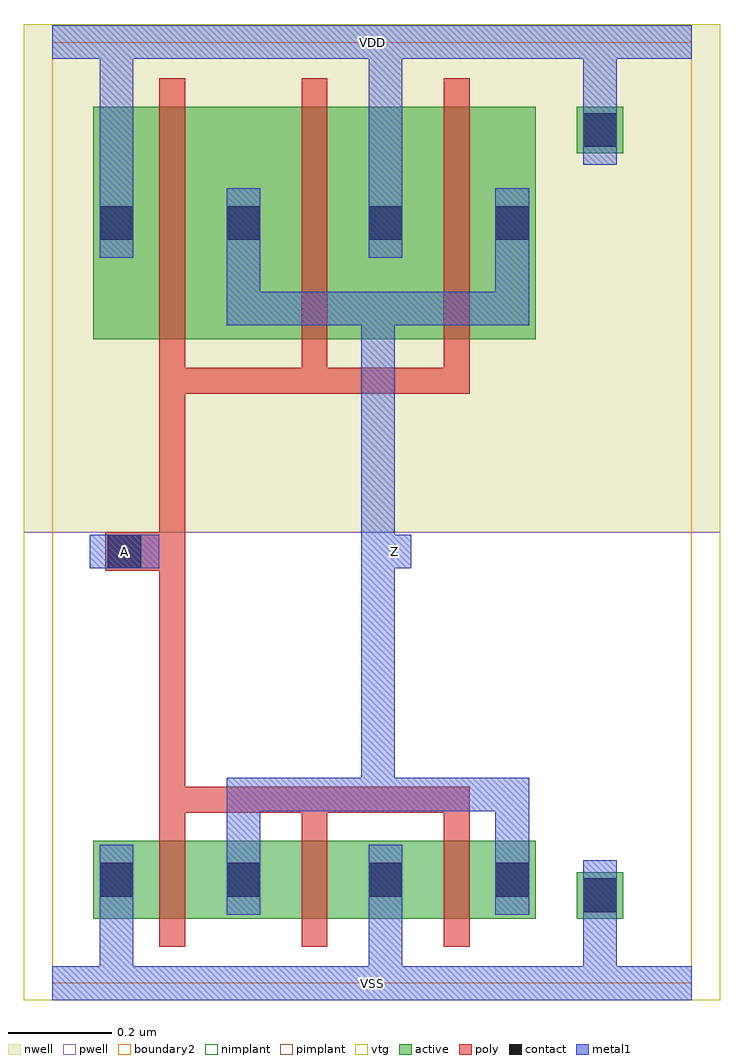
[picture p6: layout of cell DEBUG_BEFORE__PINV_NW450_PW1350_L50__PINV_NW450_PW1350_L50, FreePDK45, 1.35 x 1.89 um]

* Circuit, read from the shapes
.subckt DEBUG_BEFORE__PINV_NW450_PW1350_L50__PINV_NW450_PW1350_L50 A VDD VSS Z
M1 Z A VSS VSS nfet w=0.15u l=0.05u m=3
M2 Z A VDD VDD pfet w=0.45u l=0.05u m=3
.ends

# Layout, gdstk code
import gdstk
lib = gdstk.Library(unit=1e-6, precision=5e-10)
def R(c, l, rs):  # rectangles x0, y0, x1, y1
    for r in rs: c.add(gdstk.rectangle(r[:2], r[2:], *l))
def A(c, l, x, y, w, h, nx, ny, dx, dy):  # array of equal rectangles
    R(c, l, [(x+i*dx, y+j*dy, x+i*dx+w, y+j*dy+h) for i in range(nx) for j in range(ny)])
active = (1, 0)
pwell = (2, 0)
nwell = (3, 0)
nimplant = (4, 0)
pimplant = (5, 0)
vtg = (6, 0)
poly = (9, 0)
contact = (10, 0)
metal1 = (11, 0)
boundary2 = (239, 0)

debug_before__pinv_nw450 = lib.new_cell('DEBUG_BEFORE__PINV_NW450_PW1350_L50__TRANSMISSION_GATE_NW250_PW500_L50_contact_8')
R(debug_before__pinv_nw450, active, [(0,0.0225,0.09,0.1125)])
R(debug_before__pinv_nw450, nwell, [(-0.055,-0.0325,0.145,0.1675)])
R(debug_before__pinv_nw450, pimplant, [(0,0.0225,0.09,0.1125)])
R(debug_before__pinv_nw450, contact, [(0.0125,0.035,0.0775,0.1)])
R(debug_before__pinv_nw450, metal1, [(0.0125,0,0.0775,0.135)])
R(debug_before__pinv_nw450, boundary2, [(-0.055,-0.0325,0.145,0.1675)])

c_debug_before__pinv_nw450 = lib.new_cell('DEBUG_BEFORE__PINV_NW450_PW1350_L50__PINV_NW450_PW1350_L50_pmos_m3_w0_450_sm1_dm1_da_p')
R(c_debug_before__pinv_nw450, active, [(0,0,0.855,0.45)])
R(c_debug_before__pinv_nw450, nwell, [(-0.08,-0.08,0.935,0.53)])
R(c_debug_before__pinv_nw450, pimplant, [(0,0,0.855,0.45)])
R(c_debug_before__pinv_nw450, vtg, [(-0.08,-0.08,0.935,0.53)])
A(c_debug_before__pinv_nw450, poly, 0.1275, -0.055, 0.05, 0.56, 3, 1, 0.275, 0)
R(c_debug_before__pinv_nw450, poly, [(0.1275,-0.105,0.7275,-0.055)])
R(c_debug_before__pinv_nw450, metal1, [(0.2575,0.0275,0.8425,0.0925), (0.2575,0.06,0.3225,0.225), (0.7775,0.06,0.8425,0.225), (0.0125,0.1575,0.0775,0.2925), (0.5325,0.1575,0.5975,0.2925)])
R(c_debug_before__pinv_nw450, boundary2, [(-0.08,-0.105,0.935,0.53)])
c_debug_before__pinv_nw450.add(gdstk.Reference(debug_before__pinv_nw450, (0,0.1575)))
c_debug_before__pinv_nw450.add(gdstk.Reference(debug_before__pinv_nw450, (0.245,0.1575)))
c_debug_before__pinv_nw450.add(gdstk.Reference(debug_before__pinv_nw450, (0.52,0.1575)))
c_debug_before__pinv_nw450.add(gdstk.Reference(debug_before__pinv_nw450, (0.765,0.1575)))
c_debug_before__pinv_nw450.add(gdstk.Label('G', (0.4275,-0.08), layer=9, texttype=0))
c_debug_before__pinv_nw450.add(gdstk.Label('S', (0.045,0.225), layer=11, texttype=0))
c_debug_before__pinv_nw450.add(gdstk.Label('S', (0.565,0.225), layer=11, texttype=0))
c_debug_before__pinv_nw450.add(gdstk.Label('D', (0.55,0.06), layer=11, texttype=0))

c_debug_before__pinv_nw450_ = lib.new_cell('DEBUG_BEFORE__PINV_NW450_PW1350_L50__TRANSMISSION_GATE_NW250_PW500_L50_contact_7')
R(c_debug_before__pinv_nw450_, active, [(0,0.0225,0.09,0.1125)])
R(c_debug_before__pinv_nw450_, pwell, [(-0.055,-0.0325,0.145,0.1675)])
R(c_debug_before__pinv_nw450_, nimplant, [(0,0.0225,0.09,0.1125)])
R(c_debug_before__pinv_nw450_, contact, [(0.0125,0.035,0.0775,0.1)])
R(c_debug_before__pinv_nw450_, metal1, [(0.0125,0,0.0775,0.135)])
R(c_debug_before__pinv_nw450_, boundary2, [(-0.055,-0.0325,0.145,0.1675)])

c_debug_before__pinv_nw450__ = lib.new_cell('DEBUG_BEFORE__PINV_NW450_PW1350_L50__PINV_NW450_PW1350_L50_nmos_m3_w0_150_sm1_dm1_da_p')
R(c_debug_before__pinv_nw450__, active, [(0,0,0.855,0.15)])
R(c_debug_before__pinv_nw450__, pwell, [(-0.08,-0.08,0.935,0.23)])
R(c_debug_before__pinv_nw450__, nimplant, [(0,0,0.855,0.15)])
R(c_debug_before__pinv_nw450__, vtg, [(-0.08,-0.08,0.935,0.23)])
A(c_debug_before__pinv_nw450__, poly, 0.1275, -0.055, 0.05, 0.26, 3, 1, 0.275, 0)
R(c_debug_before__pinv_nw450__, poly, [(0.1275,0.205,0.7275,0.255)])
R(c_debug_before__pinv_nw450__, metal1, [(0.0125,0.0075,0.0775,0.1425), (0.5325,0.0075,0.5975,0.1425), (0.2575,0.075,0.3225,0.24), (0.7775,0.075,0.8425,0.24), (0.2575,0.2075,0.8425,0.2725)])
R(c_debug_before__pinv_nw450__, boundary2, [(-0.08,-0.08,0.935,0.2725)])
c_debug_before__pinv_nw450__.add(gdstk.Reference(c_debug_before__pinv_nw450_, (0,0.0075)))
c_debug_before__pinv_nw450__.add(gdstk.Reference(c_debug_before__pinv_nw450_, (0.245,0.0075)))
c_debug_before__pinv_nw450__.add(gdstk.Reference(c_debug_before__pinv_nw450_, (0.52,0.0075)))
c_debug_before__pinv_nw450__.add(gdstk.Reference(c_debug_before__pinv_nw450_, (0.765,0.0075)))
c_debug_before__pinv_nw450__.add(gdstk.Label('G', (0.4275,0.23), layer=9, texttype=0))
c_debug_before__pinv_nw450__.add(gdstk.Label('S', (0.565,0.075), layer=11, texttype=0))
c_debug_before__pinv_nw450__.add(gdstk.Label('S', (0.045,0.075), layer=11, texttype=0))
c_debug_before__pinv_nw450__.add(gdstk.Label('D', (0.55,0.24), layer=11, texttype=0))

c_debug_before__pinv_nw450___ = lib.new_cell('DEBUG_BEFORE__PINV_NW450_PW1350_L50__TRANSMISSION_GATE_NW250_PW500_L50_contact_9')
R(c_debug_before__pinv_nw450___, active, [(0,0.0225,0.09,0.1125)])
R(c_debug_before__pinv_nw450___, nwell, [(-0.055,-0.0325,0.145,0.1675)])
R(c_debug_before__pinv_nw450___, nimplant, [(0,0.0225,0.09,0.1125)])
R(c_debug_before__pinv_nw450___, contact, [(0.0125,0.035,0.0775,0.1)])
R(c_debug_before__pinv_nw450___, metal1, [(0.0125,0,0.0775,0.135)])
R(c_debug_before__pinv_nw450___, boundary2, [(-0.055,-0.0325,0.145,0.1675)])

c_debug_before__pinv_nw450____ = lib.new_cell('DEBUG_BEFORE__PINV_NW450_PW1350_L50__TRANSMISSION_GATE_NW250_PW500_L50_contact_10')
R(c_debug_before__pinv_nw450____, active, [(0,0.0225,0.09,0.1125)])
R(c_debug_before__pinv_nw450____, pwell, [(-0.055,-0.0325,0.145,0.1675)])
R(c_debug_before__pinv_nw450____, pimplant, [(0,0.0225,0.09,0.1125)])
R(c_debug_before__pinv_nw450____, contact, [(0.0125,0.035,0.0775,0.1)])
R(c_debug_before__pinv_nw450____, metal1, [(0.0125,0,0.0775,0.135)])
R(c_debug_before__pinv_nw450____, boundary2, [(-0.055,-0.0325,0.145,0.1675)])

c_debug_before__pinv_nw450_____ = lib.new_cell('DEBUG_BEFORE__PINV_NW450_PW1350_L50__PINV_NW180_PW270_L50_contact_11')
R(c_debug_before__pinv_nw450_____, poly, [(0.03,0,0.105,0.075)])
R(c_debug_before__pinv_nw450_____, contact, [(0.035,0.005,0.1,0.07)])
R(c_debug_before__pinv_nw450_____, metal1, [(0,0.005,0.135,0.07)])
R(c_debug_before__pinv_nw450_____, boundary2, [(0,0,0.135,0.075)])

c_debug_before__pinv_nw450______ = lib.new_cell('DEBUG_BEFORE__PINV_NW450_PW1350_L50__PINV_NW450_PW1350_L50_core')
R(c_debug_before__pinv_nw450______, pwell, [(-0.055,-0.0325,1.2925,0.8725)])
R(c_debug_before__pinv_nw450______, nwell, [(-0.055,0.8725,1.2925,1.855)])
R(c_debug_before__pinv_nw450______, vtg, [(-0.055,-0.0325,1.2925,0.8725), (-0.055,0.8725,1.2925,1.855)])
R(c_debug_before__pinv_nw450______, poly, [(0.2075,0.38,0.2575,1.14), (0.14,0.7975,0.2075,0.8725)])
R(c_debug_before__pinv_nw450______, metal1, [(0,-0.0325,1.2375,0.0325), (0.0925,-0.0325,0.1575,0.1325), (0.6125,-0.0325,0.6775,0.1325), (1.0275,0,1.0925,0.17), (0.5975,0.3325,0.6625,1.3375), (0.0725,0.8025,0.2075,0.8675), (0.63,0.8025,0.695,0.8675), (0.0925,1.4025,0.1575,1.8525), (0.6125,1.4025,0.6775,1.8525), (1.0275,1.65,1.0925,1.82), (0,1.7875,1.2375,1.8525)])
R(c_debug_before__pinv_nw450______, boundary2, [(0,0,1.2375,1.82), (0,0,1.2375,1.82)])
c_debug_before__pinv_nw450______.add(gdstk.Reference(c_debug_before__pinv_nw450, (0.08,1.245)))
c_debug_before__pinv_nw450______.add(gdstk.Reference(c_debug_before__pinv_nw450__, (0.08,0.125)))
c_debug_before__pinv_nw450______.add(gdstk.Reference(c_debug_before__pinv_nw450___, (1.015,1.5825)))
c_debug_before__pinv_nw450______.add(gdstk.Reference(c_debug_before__pinv_nw450____, (1.015,0.1025)))
c_debug_before__pinv_nw450______.add(gdstk.Reference(c_debug_before__pinv_nw450_____, (0.0725,0.7975)))
c_debug_before__pinv_nw450______.add(gdstk.Label('A', (0.14,0.835), layer=11, texttype=0))
c_debug_before__pinv_nw450______.add(gdstk.Label('Z', (0.6625,0.835), layer=11, texttype=0))
c_debug_before__pinv_nw450______.add(gdstk.Label('gnd', (0.619,0), layer=11, texttype=0))
c_debug_before__pinv_nw450______.add(gdstk.Label('vdd', (0.619,1.82), layer=11, texttype=0))

c_debug_before__pinv_nw450_______ = lib.new_cell('DEBUG_BEFORE__PINV_NW450_PW1350_L50__PINV_NW450_PW1350_L50')
R(c_debug_before__pinv_nw450_______, metal1, [(0,-0.0325,1.2375,0.0325), (0.0725,0.8025,0.2075,0.8675), (0.63,0.8025,0.695,0.8675), (0,1.7875,1.2375,1.8525)])
R(c_debug_before__pinv_nw450_______, boundary2, [(0,0,1.2375,1.82)])
c_debug_before__pinv_nw450_______.add(gdstk.Reference(c_debug_before__pinv_nw450______, (0,0)))
c_debug_before__pinv_nw450_______.add(gdstk.Label('A', (0.14,0.835), layer=11, texttype=0))
c_debug_before__pinv_nw450_______.add(gdstk.Label('Z', (0.6625,0.835), layer=11, texttype=0))
c_debug_before__pinv_nw450_______.add(gdstk.Label('VDD', (0.619,1.82), layer=11, texttype=0))
c_debug_before__pinv_nw450_______.add(gdstk.Label('VSS', (0.619,0), layer=11, texttype=0))

lib.write_gds('DEBUG_BEFORE__PINV_NW450_PW1350_L50__PINV_NW450_PW1350_L50.gds')
